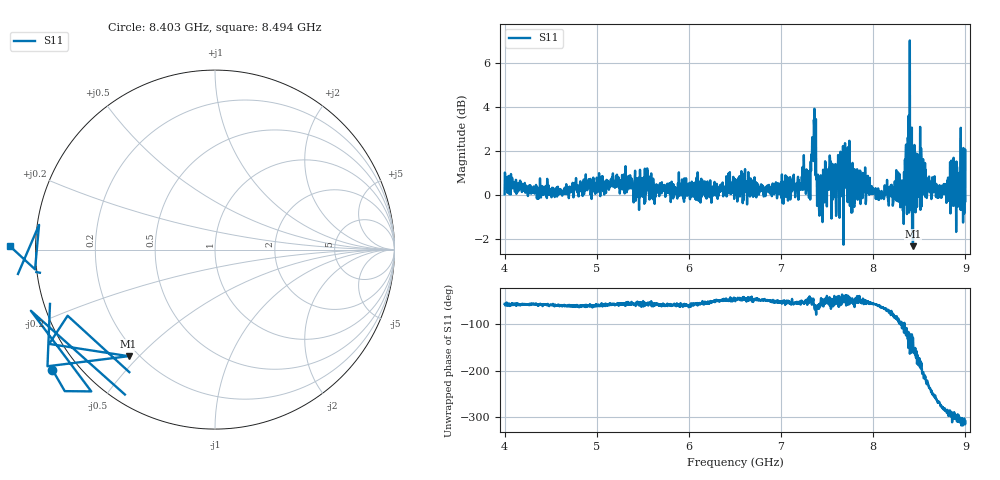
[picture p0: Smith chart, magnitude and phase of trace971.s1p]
! Created with skrf 1.8.0 (http://scikit-rf.org).
# Hz S RI R 50.0
!freq ReS11 ImS11
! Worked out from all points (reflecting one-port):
!   1601 points, 4 GHz to 9 GHz, reference 50 ohm
!   lowest |S11| = -2.3 dB at 8.431 GHz (marker M1), VSWR 7.49, Z = 8.16 - j23.3 ohm
!   phase of S11 starts at -56 deg and turns -253 deg over the sweep
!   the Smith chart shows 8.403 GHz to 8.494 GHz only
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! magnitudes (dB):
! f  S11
! 4 GHz  0.0
! 4.625 GHz  0.0
! 5.25 GHz  0.1
! 5.875 GHz  -0.2
! 6.5 GHz  0.7
! 7.125 GHz  0.5
! 7.294 GHz  0.2
! 7.353 GHz  1.5
! 7.381 GHz  0.7
! 7.4 GHz  0.9
! 7.428 GHz  0.4
! 7.519 GHz  0.8
! 7.588 GHz  0.3
! 7.691 GHz  0.3
! 7.75 GHz  0.2
! 7.834 GHz  0.8
! 8.097 GHz  0.0
! 8.259 GHz  0.3
! 8.316 GHz  0.5
! 8.375 GHz  2.6
! 8.394 GHz  -0.7
! 8.412 GHz  0.7
! 8.431 GHz  -2.3
! 8.522 GHz  1.7
! 8.638 GHz  0.0
! 8.819 GHz  -0.3
! 8.959 GHz  1.7
! 9 GHz  -0.3
